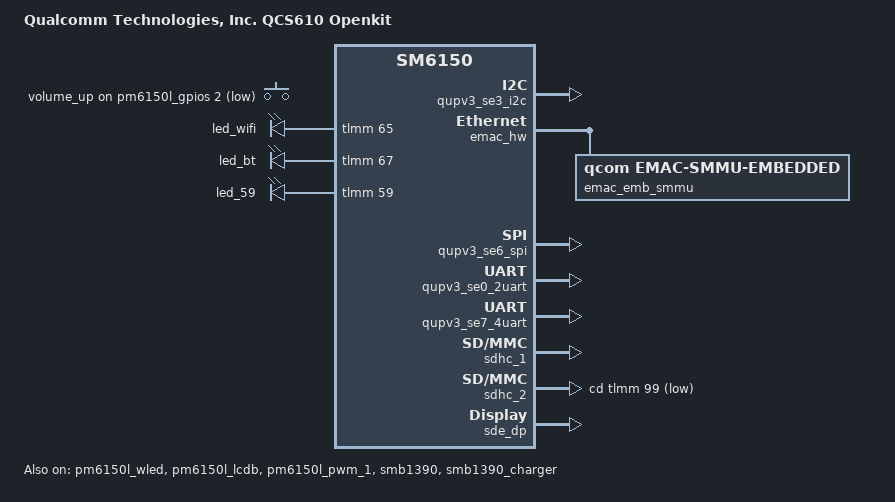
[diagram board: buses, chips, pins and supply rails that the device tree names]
/* Copyright (c) 2021, The Linux Foundation. All rights reserved.
 *
 * This program is free software; you can redistribute it and/or modify
 * it under the terms of the GNU General Public License version 2 and
 * only version 2 as published by the Free Software Foundation.
 *
 * This program is distributed in the hope that it will be useful,
 * but WITHOUT ANY WARRANTY; without even the implied warranty of
 * MERCHANTABILITY or FITNESS FOR A PARTICULAR PURPOSE.  See the
 * GNU General Public License for more details.
 */

#include <dt-bindings/gpio/gpio.h>
#include <dt-bindings/iio/qcom,spmi-vadc.h>
#include <dt-bindings/input/input.h>

#include <dt-bindings/clock/qcom,rpmh.h>
#include <dt-bindings/clock/qcom,gcc-sm6150.h>
#include <dt-bindings/clock/qcom,camcc-sm6150.h>
#include <dt-bindings/clock/qcom,cpucc-sm8150.h>
#include <dt-bindings/clock/qcom,dispcc-sm6150.h>
#include <dt-bindings/clock/qcom,gpucc-sm6150.h>

#include "sm6150-sde.dtsi"
#include "sm6150-sde-pll.dtsi"
#include "sm6150-sde-display.dtsi"
#include "qcs610-camera-sensor-opk.dtsi"
#include "sm6150-ext-codec-audio-opk-overlay.dtsi"
#include "sm6150-external-codec.dtsi"

/ {
	model = "Qualcomm Technologies, Inc. QCS610 Openkit";
	compatible = "qcom,qcs610-opk", "qcom,qcs610", "qcom,opk";
	qcom,board-id = <32 3>;
};

&qupv3_se3_i2c {
	status = "ok";
	#include "smb1390.dtsi"
};

&fsa4480 {
	status = "disabled";
};

&sm6150_snd {
	pa-vddio-supply = <&pm6150_l15>;
};

&pm6150l_gpios {
	key_vol_up {
		key_vol_up_default: key_vol_up_default {
			pins = "gpio2";
			function = "normal";
			input-enable;
			bias-pull-up;
			power-source = <0>;
		};
	};

	irled {
		irled_pwm: irled_pwm_default {
			pins = "gpio6";
			function = "func1";
			qcom,drive-strength = <2>;
			power-source = <0>;
			bias-disable;
			output-low;
		};
	};

	sdm_dp_en {
		sdm_dp_en_default: sdm_dp_en_default {
			pins = "gpio4";
			function = "normal";
			qcom,drive-strength = <2>;
			output-high;
			bias-pull-up;
			power-source = <0>;
		};
	};
};

&soc {
	gpio_keys {
		compatible = "gpio-keys";
		label = "gpio-keys";

		pinctrl-names = "default";
		pinctrl-0 = <&key_vol_up_default>;

		vol_up {
			label = "volume_up";
			gpios = <&pm6150l_gpios 2 GPIO_ACTIVE_LOW>;
			linux,input-type = <1>;
			linux,code = <KEY_VOLUMEUP>;
			linux,can-disable;
			debounce-interval = <15>;
			gpio-key,wakeup;
		};
	};

	leds-gpios {
		compatible = "gpio-leds";
		status = "okay";

		led_wifi {
			lable = "led_wifi";
			gpios = <&tlmm 65 0>;
			default-state = "on";
		};

		led_bt {
			lable = "led_bt";
			gpios = <&tlmm 67 0>;
			default-state = "on";
		};

		led_59 {
			lable = "led_59";
			gpios = <&tlmm 59 0>;
			default-state = "on";
		};

	};

	mtp_batterydata: qcom,battery-data {
		qcom,batt-id-range-pct = <15>;
		#include "qg-batterydata-alium-3600mah.dtsi"
		#include "qg-batterydata-mlp356477-2800mah.dtsi"
	};

	emac_hw: qcom,emac@20000 {
		compatible = "qcom,emac-dwc-eqos";
		qcom,arm-smmu;
		reg = <0x20000 0x10000>,
			<0x36000 0x100>;
		reg-names = "emac-base", "rgmii-base";
		dma-bit-mask = <32>;
		emac-core-version = <7>;
		interrupts-extended = <&pdc 0 660 4>, <&pdc 0 661 4>,
			<&tlmm 76 2>, <&pdc 0 651 4>,
			<&pdc 0 652 4>, <&pdc 0 653 4>,
			<&pdc 0 654 4>, <&pdc 0 655 4>,
			<&pdc 0 656 4>, <&pdc 0 657 4>,
			<&pdc 0 658 4>, <&pdc 0 659 4>,
			<&pdc 0 668 4>, <&pdc 0 669 4>;
		interrupt-names = "sbd-intr", "lpi-intr",
			"phy-intr", "tx-ch0-intr",
			"tx-ch1-intr", "tx-ch2-intr",
			"tx-ch3-intr", "tx-ch4-intr",
			"rx-ch0-intr", "rx-ch1-intr",
			"rx-ch2-intr", "rx-ch3-intr",
			"ptp_pps_irq_0","ptp_pps_irq_1";
		qcom,msm-bus,name = "emac";
		qcom,msm-bus,num-cases = <4>;
		qcom,msm-bus,num-paths = <2>;
		qcom,msm-bus,vectors-KBps =
			<98 512 0 0>, <1 781 0 0>,  /* No vote */
			<98 512 1250 0>, <1 781 0 40000>,  /* 10Mbps vote */
			<98 512 12500 0>, <1 781 0 40000>,  /* 100Mbps vote */
			<98 512 125000 0>, <1 781 0 40000>; /* 1000Mbps vote */
		qcom,bus-vector-names = "0", "10", "100", "1000";
		clocks = <&clock_gcc GCC_EMAC_AXI_CLK>,
				<&clock_gcc GCC_EMAC_PTP_CLK>,
				<&clock_gcc GCC_EMAC_RGMII_CLK>,
				<&clock_gcc GCC_EMAC_SLV_AHB_CLK>;
		clock-names = "eth_axi_clk", "eth_ptp_clk",
				"eth_rgmii_clk", "eth_slave_ahb_clk";
		qcom,phy-reset = <&tlmm 36 GPIO_ACTIVE_HIGH>;
		qcom,phy-reset-delay-msecs = <10 50>;
		qcom,phy-intr-redirect = <&tlmm 76 GPIO_ACTIVE_LOW>;
		gdsc_emac-supply = <&emac_gdsc>;
		pinctrl-names = "dev-emac-mdc", "dev-emac-mdio",
		"dev-emac-rgmii_txd0_state", "dev-emac-rgmii_txd1_state",
		"dev-emac-rgmii_txd2_state", "dev-emac-rgmii_txd3_state",
		"dev-emac-rgmii_txc_state",  "dev-emac-rgmii_tx_ctl_state",
		"dev-emac-rgmii_rxd0_state", "dev-emac-rgmii_rxd1_state",
		"dev-emac-rgmii_rxd2_state", "dev-emac-rgmii_rxd3_state",
		"dev-emac-rgmii_rxc_state", "dev-emac-rgmii_rx_ctl_state",
		"dev-emac-phy_intr", "dev-emac-phy_reset_state",
		"dev-emac_pin_pps_0";

		pinctrl-0 = <&emac_mdc>;
		pinctrl-1 = <&emac_mdio>;
		pinctrl-2 = <&emac_rgmii_txd0>;
		pinctrl-3 = <&emac_rgmii_txd1>;
		pinctrl-4 = <&emac_rgmii_txd2>;
		pinctrl-5 = <&emac_rgmii_txd3>;
		pinctrl-6 = <&emac_rgmii_txc>;
		pinctrl-7 = <&emac_rgmii_tx_ctl>;
		pinctrl-8 = <&emac_rgmii_rxd0>;
		pinctrl-9 = <&emac_rgmii_rxd1>;
		pinctrl-10 = <&emac_rgmii_rxd2>;
		pinctrl-11 = <&emac_rgmii_rxd3>;
		pinctrl-12 = <&emac_rgmii_rxc>;
		pinctrl-13 = <&emac_rgmii_rx_ctl>;
		pinctrl-14 = <&emac_phy_intr>;
		pinctrl-15 = <&emac_phy_reset_state>;
		pinctrl-16 = <&emac_pin_pps_0>;
		vreg_emac_phy-supply =  <&L19A>;
		qcom,phyad_change;

		io-macro-info {
			io-macro-bypass-mode = <0>;
			io-interface = "rgmii";
		};
		emac_emb_smmu: emac_emb_smmu {
			compatible = "qcom,emac-smmu-embedded";
			iommus = <&apps_smmu 0x1C0 0x0>;
			qcom,iova-mapping = <0x80000000 0x40000000>;
			qcom,smmu-geometry;
		};
	};
};

&lpi_wcd934x_reset_active {
	mux {
		pins = "gpio24";
		function = "func2";
	};
	config {
		pins = "gpio24";
		drive-strength = <16>;
		output-high;
	};
};

&lpi_wcd934x_reset_sleep {
	mux {
		pins = "gpio24";
		function = "func2";
	};

	config {
		pins = "gpio24";
		drive-strength = <16>;
		bias-disable;
		output-low;
	};
};

&wcd_intr_default {
	mux {
		pins = "gpio50";
		function = "gpio";
	};

	config {
		pins = "gpio50";
		drive-strength = <2>; /* 2 mA */
		bias-pull-down; /* pull down */
		input-enable;
	};
};

&qupv3_se4_spi {
	status = "disabled";
};

&qupv3_se6_spi {
	status = "okay";
};

&L15A {
	regulator-always-on;
};

&emac_phy_intr {
	mux {
		pins = "gpio76";
		function = "gpio";
	};

	config {
		pins = "gpio76";
		bias-disable;  /* NO pull */
		drive-strength = <2>;
		};
	};

&emac_phy_reset_state {
	mux {
		pins = "gpio36";
		function = "gpio";
		};

	config {
		pins = "gpio36";
		bias-pull-up;
		drive-strength = <16>;
		};
	};

&pm6150l_wled {
	qcom,string-cfg= <3>;
	qcom,leds-per-string = <7>;
	status = "ok";
};

&pm6150l_lcdb {
	status = "ok";
};

&pm6150l_pwm_1 {
	status = "okay";
};

&pm6150_qg {
	qcom,battery-data = <&mtp_batterydata>;
	qcom,qg-iterm-ma = <100>;
	qcom,hold-soc-while-full;
	qcom,linearize-soc;
	qcom,cl-feedback-on;
};

&pm6150_charger {
	io-channels = <&pm6150_vadc ADC_USB_IN_V_16>,
		      <&pm6150_vadc ADC_USB_IN_I>,
		      <&pm6150_vadc ADC_CHG_TEMP>,
		      <&pm6150_vadc ADC_DIE_TEMP>,
		      <&pm6150_vadc ADC_AMUX_THM4_PU2>,
		      <&pm6150_vadc ADC_SBUx>,
		      <&pm6150_vadc ADC_VPH_PWR>;
	io-channel-names = "usb_in_voltage",
			   "usb_in_current",
			   "chg_temp",
			   "die_temp",
			   "conn_temp",
			   "sbux_res",
			   "vph_voltage";
	qcom,battery-data = <&mtp_batterydata>;
	qcom,auto-recharge-soc = <98>;
	qcom,step-charging-enable;
	qcom,sw-jeita-enable;
	qcom,fcc-stepping-enable;
	qcom,suspend-input-on-debug-batt;
	qcom,sec-charger-config = <3>;
	qcom,thermal-mitigation = <4200000 3500000 3000000
			2500000 2000000 1500000 1000000 500000>;
	dpdm-supply = <&qusb_phy0>;
	qcom,charger-temp-max = <800>;
	qcom,smb-temp-max = <800>;
};

&smb1390 {
	/delete-property/ interrupts;
	interrupts = <0x0 0xc2 0x0 IRQ_TYPE_LEVEL_LOW>;
	pinctrl-names = "default";
	pinctrl-0 = <&smb_stat_default>;
	status = "ok";
};

&smb1390_charger {
	/delete-property/ compatible;
	compatible = "qcom,smb1390-charger-psy";
	io-channels = <&pm6150_vadc ADC_AMUX_THM3>;
	io-channel-names = "cp_die_temp";
	status = "ok";
};

&qupv3_se0_2uart {
	status = "ok";
};

&qupv3_se7_4uart {
	status = "ok";
};

&pil_camera_mem {
	reg = <0 0x8f800000 0 0x500000>;
};

&pil_modem_mem {
	reg = <0 0x8fd00000 0 0x3100000>;
};

&msm_gpu {
	/delete-node/qcom,gpu-mempools;
};


&sdhc_1 {
	vdd-supply = <&pm6150l_l11>;
	qcom,vdd-voltage-level = <2950000 2950000>;
	qcom,vdd-current-level = <0 570000>;

	vdd-io-supply = <&pm6150_l12>;
	qcom,vdd-io-always-on;
	qcom,vdd-io-lpm-sup;
	qcom,vdd-io-voltage-level = <1800000 1800000>;
	qcom,vdd-io-current-level = <0 325000>;

	pinctrl-names = "active", "sleep";
	pinctrl-0 = <&sdc1_clk_on &sdc1_cmd_on &sdc1_data_on &sdc1_rclk_on>;
	pinctrl-1 = <&sdc1_clk_off &sdc1_cmd_off &sdc1_data_off &sdc1_rclk_off>;

	status = "ok";
};

&sdhc_2 {
	vdd-supply = <&pm6150l_l9>;
	qcom,vdd-voltage-level = <2950000 2950000>;
	qcom,vdd-current-level = <0 800000>;

	vdd-io-supply = <&pm6150l_l6>;
	qcom,vdd-io-voltage-level = <1800000 3100000>;
	qcom,vdd-io-current-level = <0 22000>;

	pinctrl-names = "active", "sleep";
	pinctrl-0 = <&sdc2_clk_on  &sdc2_cmd_on &sdc2_data_on &sdc2_cd_on>;
	pinctrl-1 = <&sdc2_clk_off &sdc2_cmd_off &sdc2_data_off &sdc2_cd_off>;

	cd-gpios = <&tlmm 99 GPIO_ACTIVE_LOW>;

	status = "ok";
};

&usb0 {
	dwc3@a600000 {
		snps,usb3-u1u2-disable;
	};
};

&L16A {
	regulator-max-microvolt = <3304000>;
};

&L19A {
	regulator-max-microvolt = <3304000>;
};

&L4C {
	regulator-max-microvolt = <2912000>;
};

&L5C {
	regulator-max-microvolt = <2912000>;
};

&cont_splash_memory {
	status = "disabled";
};

&disp_rdump_memory {
	status = "disabled";
};

&dsi_panel_ili988c_720p_vid_display {
	qcom,dsi-display-active;
	qcom,display-type = "primary";
};

&sde_dsi {
	vdd3p-supply = <&pm6150l_l7>;
};

&sde_dp {
	status="ok";
	/delete-property/ qcom,dp-aux-switch;
	/delete-property/ pinctrl-2;
	qcom,dp-aux-switch = <>;
	qcom,dp-hpd-gpio = <&tlmm 89 0>;
	pinctrl-2 = <&sdm_dp_en_default &sde_dp_switch_suspend
					&sde_dp_hotplug_tlmm>;
};

&mdss_dp_pll {
	status="ok";
};

&mdss_mdp {
	connectors = <&sde_rscc &sde_wb &sde_dsi &sde_dp>;
};

&sde_dp_hotplug_tlmm {
	mux {
		pins = "gpio89";
		function = "gpio";
	};

	config {
		pins = "gpio89";
		bias-disable;
		input-enable;
		drive-strength = <2>;
	};
};
/*for camera*/
&tlmm {
	cam_sensor_rear1_active: cam_sensor_rear1_active {
		/* RESET */
		mux {
			pins = "gpio45";
			function = "gpio";
		};

		config {
			pins = "gpio45";
			bias-disable; /* No PULL */
			drive-strength = <2>; /* 2 MA */
		};
	};

	cam_sensor_rear1_suspend: cam_sensor_rear1_suspend {
		/* RESET */
		mux {
			pins = "gpio45";
			function = "gpio";
		};

		config {
			pins = "gpio45";
			bias-pull-down; /* PULL DOWN */
			drive-strength = <2>; /* 2 MA */
			output-low;
		};
	};

	cam_sensor_rear2_active: cam_sensor_rear2_active {
		/* RESET */
		mux {
			pins = "gpio47";
			function = "gpio";
		};

		config {
			pins = "gpio47";
			bias-disable; /* No PULL */
			drive-strength = <2>; /* 2 MA */
		};
	};

	cam_sensor_rear2_suspend: cam_sensor_rear2_suspend {
		/* RESET */
		mux {
			pins = "gpio47";
			function = "gpio";
		};

		config {
			pins = "gpio47";
			bias-pull-down; /* PULL DOWN */
			drive-strength = <2>; /* 2 MA */
			output-low;
		};
	};

	cam_sensor_rear3_active: cam_sensor_rear3_active {
		/* RESET */
		mux {
			pins = "gpio47";
			function = "gpio";
		};

		config {
			pins = "gpio47";
			bias-disable; /* No PULL */
			drive-strength = <2>; /* 2 MA */
		};
	};

	cam_sensor_rear3_suspend: cam_sensor_rear3_suspend {
		/* RESET */
		mux {
			pins = "gpio47";
			function = "gpio";
		};

		config {
			pins = "gpio47";
			bias-pull-down; /* PULL DOWN */
			drive-strength = <2>; /* 2 MA */
			output-low;
		};
	};

	cam_sensor_mclk2_active: cam_sensor_mclk2_active {
		/* MCLK2 */
		mux {
			pins = "gpio28";
			function = "cam_mclk";
		};

		config {
			pins = "gpio28";
			bias-disable; /* No PULL */
			drive-strength = <2>; /* 2 MA */
		};
	};

	cam_sensor_mclk2_suspend: cam_sensor_mclk2_suspend {
		/* MCLK2 */
		mux {
			pins = "gpio28";
			function = "cam_mclk";
		};

		config {
			pins = "gpio28";
			bias-pull-down; /* PULL DOWN */
			drive-strength = <2>; /* 2 MA */
		};
	};
};
